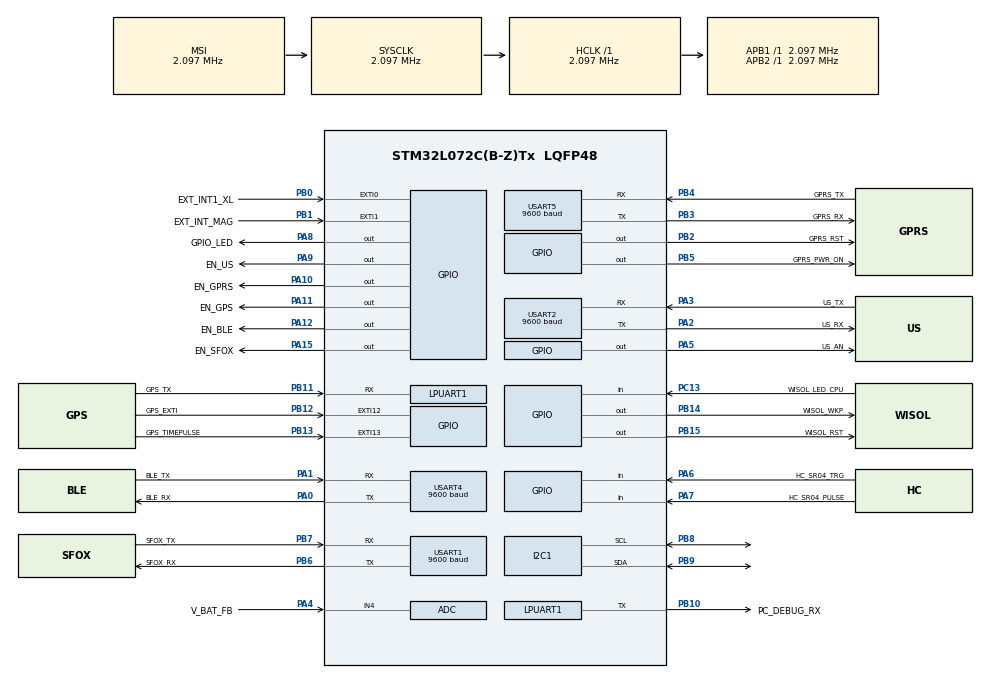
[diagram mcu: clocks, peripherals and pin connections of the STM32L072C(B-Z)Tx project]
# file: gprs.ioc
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Dma.ADC.0.Direction=DMA_PERIPH_TO_MEMORY
Dma.ADC.0.Instance=DMA1_Channel1
Dma.ADC.0.MemDataAlignment=DMA_MDATAALIGN_WORD
Dma.ADC.0.MemInc=DMA_MINC_ENABLE
Dma.ADC.0.Mode=DMA_CIRCULAR
Dma.ADC.0.PeriphDataAlignment=DMA_PDATAALIGN_HALFWORD
Dma.ADC.0.PeriphInc=DMA_PINC_DISABLE
Dma.ADC.0.Priority=DMA_PRIORITY_LOW
Dma.Request0=ADC
LPUART1.BaudRate=9600
LPUART1.WordLength=UART_WORDLENGTH_8B
Mcu.Family=STM32L0
Mcu.Name=STM32L072C(B-Z)Tx
Mcu.Package=LQFP48
NVIC.ADC1_COMP_IRQn=true\:0\:0\:false\:false\:true\:true\:true
NVIC.DMA1_Channel1_IRQn=true\:0\:0\:false\:false\:true\:false\:true
NVIC.EXTI0_1_IRQn=true\:0\:0\:false\:false\:true\:true\:true
NVIC.EXTI4_15_IRQn=true\:0\:0\:false\:false\:true\:true\:true
NVIC.RCC_CRS_IRQn=true\:0\:0\:false\:false\:true\:true\:false
NVIC.RNG_LPUART1_IRQn=true\:0\:0\:false\:false\:true\:true\:true
NVIC.RTC_IRQn=true\:0\:0\:false\:false\:true\:true\:true
NVIC.USART1_IRQn=true\:0\:0\:false\:false\:true\:true\:true
NVIC.USART2_IRQn=true\:0\:0\:false\:false\:true\:true\:true
NVIC.USART4_5_IRQn=true\:0\:0\:false\:false\:true\:true\:true
PA0.GPIO_Label=BLE_RX
PA0.Mode=Asynchronous
PA0.Signal=USART4_TX
PA1.GPIO_Label=BLE_TX
PA1.Mode=Asynchronous
PA1.Signal=USART4_RX
PA10.GPIO_Label=EN_GPRS
PA10.Signal=GPIO_Output
PA11.GPIO_Label=EN_GPS
PA11.Signal=GPIO_Output
PA12.GPIO_Label=EN_BLE
PA12.Signal=GPIO_Output
PA13.Mode=Serial_Wire
PA13.Signal=SYS_SWDIO
PA14.Mode=Serial_Wire
PA14.Signal=SYS_SWCLK
PA15.GPIO_Label=EN_SFOX
PA15.Signal=GPIO_Output
PA2.GPIO_Label=US_RX
PA2.Mode=Asynchronous
PA2.Signal=USART2_TX
PA3.GPIO_Label=US_TX
PA3.Mode=Asynchronous
PA3.Signal=USART2_RX
PA4.GPIO_Label=V_BAT_FB
PA4.Mode=IN4
PA4.Signal=ADC_IN4
PA5.GPIO_Label=US_AN
PA5.GPIO_PuPd=GPIO_NOPULL
PA5.GPIO_Speed=GPIO_SPEED_FREQ_VERY_HIGH
PA5.PinState=GPIO_PIN_SET
PA5.Signal=GPIO_Output
PA6.GPIO_Label=HC_SR04_TRG
PA6.Signal=GPIO_Input
PA7.GPIO_Label=HC_SR04_PULSE
PA7.Signal=GPIO_Input
PA8.GPIO_Label=GPIO_LED
PA8.GPIO_PuPd=GPIO_PULLDOWN
PA8.GPIO_Speed=GPIO_SPEED_FREQ_HIGH
PA8.Signal=GPIO_Output
PA9.GPIO_Label=EN_US
PA9.Signal=GPIO_Output
PB0.GPIO_Label=EXT_INT1_XL
PB0.Signal=GPXTI0
PB1.GPIO_Label=EXT_INT_MAG
PB1.Signal=GPXTI1
PB10.GPIO_Label=PC_DEBUG_RX
PB10.Mode=Asynchronous
PB10.Signal=LPUART1_TX
PB11.GPIO_Label=GPS_TX
PB11.Mode=Asynchronous
PB11.Signal=LPUART1_RX
PB12.GPIO_Label=GPS_EXTI
PB12.Signal=GPXTI12
PB13.GPIO_Label=GPS_TIMEPULSE
PB13.Signal=GPXTI13
PB14.GPIO_Label=WISOL_WKP
PB14.PinState=GPIO_PIN_SET
PB14.Signal=GPIO_Output
PB15.GPIO_Label=WISOL_RST
PB15.PinState=GPIO_PIN_SET
PB15.Signal=GPIO_Output
PB2.GPIO_Label=GPRS_RST
PB2.GPIO_ModeDefaultOutputPP=GPIO_MODE_OUTPUT_OD
PB2.GPIO_PuPd=GPIO_PULLUP
PB2.PinState=GPIO_PIN_SET
PB2.Signal=GPIO_Output
PB3.GPIO_Label=GPRS_RX
PB3.Mode=Asynchronous
PB3.Signal=USART5_TX
PB4.GPIO_Label=GPRS_TX
PB4.Mode=Asynchronous
PB4.Signal=USART5_RX
PB5.GPIO_Label=GPRS_PWR_ON
PB5.Signal=GPIO_Output
PB6.GPIO_Label=SFOX_RX
PB6.Mode=Asynchronous
PB6.Signal=USART1_TX
PB7.GPIO_Label=SFOX_TX
PB7.Mode=Asynchronous
PB7.Signal=USART1_RX
PB8.Mode=I2C
PB8.Signal=I2C1_SCL
PB9.Mode=I2C
PB9.Signal=I2C1_SDA
PC13.GPIO_Label=WISOL_LED_CPU
PC13.Signal=GPIO_Input
ProjectManager.HeapSize=0x200
ProjectManager.StackSize=0x400
ProjectManager.TargetToolchain=TrueSTUDIO
RCC.ADCFreq_Value=4000000
RCC.AHBFreq_Value=2097000
RCC.APB1Freq_Value=2097000
RCC.APB1TimFreq_Value=2097000
RCC.APB2Freq_Value=2097000
RCC.APB2TimFreq_Value=2097000
RCC.HCLKFreq_Value=2097000
RCC.HSE_Timout=1000
RCC.HSE_VALUE=8000000
RCC.HSI16_VALUE=16000000
RCC.HSI48_VALUE=48000000
RCC.HSIRCDiv=4
RCC.HSI_VALUE=4000000
RCC.INSTRUCTION_CACHE_ENABLE=0
RCC.LSE_VALUE=32768
RCC.MSI_VALUE=2097000
RCC.PLLDIV=RCC_PLLDIV_4
RCC.PLLMUL=RCC_PLLMUL_4
RCC.PREFETCH_ENABLE=1
RCC.SYSCLKFreq_VALUE=2097000
RCC.VCOOutputFreq_Value=16000000
RTC.WakeUpClock-WakeUp=RTC_WAKEUPCLOCK_CK_SPRE_16BITS
RTC.WakeUpCounter-WakeUp=1
USART1.BaudRate=9600
USART1.VirtualMode-Asynchronous=VM_ASYNC
USART2.BaudRate=9600
USART2.VirtualMode-Asynchronous=VM_ASYNC
USART4.BaudRate=9600
USART4.VirtualMode-Asynchronous=VM_ASYNC
USART5.BaudRate=9600
USART5.VirtualMode-Asynchronous=VM_ASYNC
VP_ADC_TempSens_Input.Mode=IN-TempSens
VP_RTC_VS_RTC_Activate.Mode=RTC_Enabled
VP_RTC_VS_RTC_WakeUp_intern.Mode=WakeUp
board=custom

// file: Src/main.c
/* USER CODE BEGIN Header */
/**
 ******************************************************************************
 * @file           : main.c
 * @brief          : Main program body
 * @by oscar machado de souza
 * @init - 09/03/2020
 * @project - wizebox
 * @company - Wize Company LTDA
 * @Hardware version - 3.0 (by Bruno Fernandes)
 ******************************************************************************
 * @attention
 *
 * <h2><center>&copy; Copyright (c) 2020 STMicroelectronics.
 * All rights reserved.</center></h2>
 *
 * This software component is licensed by ST under BSD 3-Clause license,
 * the "License"; You may not use this file except in compliance with the
 * License. You may obtain a copy of the License at:
 *                        opensource.org/licenses/BSD-3-Clause
 *
 ******************************************************************************
 ******************************************************************************
 ******************************************************************************
 ******************************************************************************
 ******************************************************************************
 oVersion - 1.0.0	- 09/03/2020 - sigfox enable and work (just init transmission) (test ok).
 oVersion - 1.0.1 	- 10/03/2020 - encoder fix bug.
 oVersion - 1.1.0    - 11/03/2020 - Battery and internal temperature adc read (test ok).
 oVersion - 1.2.0	- 11/03/2020 - LSM303AH library implementation (test ok).
 oVersion - 1.3.0	- 11/02/2020 - GPS implementation (test ok).
 oVersion - 1.3.1	- 12/02/2020 - GPS code optimization.
 oVersion - 1.4.0	- 16/03/2020 - SEN031x implementation (test ok).
 oVersion - 1.5.0	- 16/03/2020 - sensors library implementation - get all sensors values.
 oVersion - 1.6.0	- 16/03/2020 - program library implementation - looping function.
 oVersion - 1.7.0	- 17/03/2020 - Sigfox mensagens imlementation - uplink and downlink frame.
 oVersion - 1.8.0	- 17/03/2020 -
 */
/* USER CODE END Header */

#include "main.h"

ADC_HandleTypeDef hadc;
DMA_HandleTypeDef hdma_adc;

I2C_HandleTypeDef hi2c1;

UART_HandleTypeDef hlpuart1;
UART_HandleTypeDef huart1;
UART_HandleTypeDef huart2;
UART_HandleTypeDef huart4;
UART_HandleTypeDef huart5;

RTC_HandleTypeDef hrtc;

void SystemClock_Config(void);
static void MX_GPIO_Init(void);
static void MX_DMA_Init(void);
static void MX_ADC_Init(void);
static void MX_I2C1_Init(void);
static void MX_LPUART1_UART_Init(void);
static void MX_USART1_UART_Init(void);
static void MX_USART2_UART_Init(void);
static void MX_USART4_UART_Init(void);
static void MX_USART5_UART_Init(void);
static void MX_RTC_Init(void);
/* USER CODE BEGIN PFP */
float get_temp(uint32_t variable);

/* USER CODE END PFP */

int main(void) {

	/* MCU Configuration--------------------------------------------------------*/

	/* Reset of all peripherals, Initializes the Flash interface and the Systick. */
	HAL_Init();

	/* Configure the system clock */
	SystemClock_Config();

	/* Initialize all configured peripherals */
	MX_GPIO_Init();
	MX_DMA_Init();
	MX_ADC_Init();
	MX_I2C1_Init();
	MX_LPUART1_UART_Init();
	MX_USART1_UART_Init();
	MX_USART2_UART_Init();
	MX_USART4_UART_Init();
	MX_USART5_UART_Init();
	MX_RTC_Init();
	/* USER CODE BEGIN 2 */
	//fn_start_program();

	/* USER CODE END 2 */

	/* Infinite loop */
	while (1) {

		/* USER CODE BEGIN 3 */
		HAL_GPIO_WritePin(EN_GPRS_GPIO_Port, EN_GPRS_Pin, 0);

		HAL_GPIO_WritePin(GPRS_RST_GPIO_Port, GPRS_RST_Pin, 0);

		HAL_GPIO_WritePin(GPRS_PWR_ON_GPIO_Port, GPRS_PWR_ON_Pin, 0);
		HAL_Delay(1000);

		fn_init_gprs();

		HAL_GPIO_WritePin(EN_GPRS_GPIO_Port, EN_GPRS_Pin, 0);

		HAL_GPIO_WritePin(GPRS_RST_GPIO_Port, GPRS_RST_Pin, 0);

		HAL_GPIO_WritePin(GPRS_PWR_ON_GPIO_Port, GPRS_PWR_ON_Pin, 0);
		HAL_Delay(60000);
	}
	/* USER CODE END 3 */
}

void SystemClock_Config(void) {
	RCC_OscInitTypeDef RCC_OscInitStruct = { 0 };
	RCC_ClkInitTypeDef RCC_ClkInitStruct = { 0 };
	RCC_PeriphCLKInitTypeDef PeriphClkInit = { 0 };

	/** Configure the main internal regulator output voltage
	 */
	__HAL_PWR_VOLTAGESCALING_CONFIG(PWR_REGULATOR_VOLTAGE_SCALE1);
	/** Initializes the CPU, AHB and APB busses clocks
	 */
	RCC_OscInitStruct.OscillatorType = RCC_OSCILLATORTYPE_LSI
			| RCC_OSCILLATORTYPE_MSI;
	RCC_OscInitStruct.LSIState = RCC_LSI_ON;
	RCC_OscInitStruct.MSIState = RCC_MSI_ON;
	RCC_OscInitStruct.MSICalibrationValue = 0;
	RCC_OscInitStruct.MSIClockRange = RCC_MSIRANGE_5;
	RCC_OscInitStruct.PLL.PLLState = RCC_PLL_NONE;
	if (HAL_RCC_OscConfig(&RCC_OscInitStruct) != HAL_OK) {
		Error_Handler();
	}
	/** Initializes the CPU, AHB and APB busses clocks
	 */
	RCC_ClkInitStruct.ClockType = RCC_CLOCKTYPE_HCLK | RCC_CLOCKTYPE_SYSCLK
			| RCC_CLOCKTYPE_PCLK1 | RCC_CLOCKTYPE_PCLK2;
	RCC_ClkInitStruct.SYSCLKSource = RCC_SYSCLKSOURCE_MSI;
	RCC_ClkInitStruct.AHBCLKDivider = RCC_SYSCLK_DIV1;
	RCC_ClkInitStruct.APB1CLKDivider = RCC_HCLK_DIV1;
	RCC_ClkInitStruct.APB2CLKDivider = RCC_HCLK_DIV1;

	if (HAL_RCC_ClockConfig(&RCC_ClkInitStruct, FLASH_LATENCY_0) != HAL_OK) {
		Error_Handler();
	}
	PeriphClkInit.PeriphClockSelection = RCC_PERIPHCLK_USART1
			| RCC_PERIPHCLK_USART2 | RCC_PERIPHCLK_LPUART1 | RCC_PERIPHCLK_I2C1
			| RCC_PERIPHCLK_RTC;
	PeriphClkInit.Usart1ClockSelection = RCC_USART1CLKSOURCE_PCLK2;
	PeriphClkInit.Usart2ClockSelection = RCC_USART2CLKSOURCE_PCLK1;
	PeriphClkInit.Lpuart1ClockSelection = RCC_LPUART1CLKSOURCE_PCLK1;
	PeriphClkInit.I2c1ClockSelection = RCC_I2C1CLKSOURCE_PCLK1;
	PeriphClkInit.RTCClockSelection = RCC_RTCCLKSOURCE_LSI;
	if (HAL_RCCEx_PeriphCLKConfig(&PeriphClkInit) != HAL_OK) {
		Error_Handler();
	}
}

static void MX_ADC_Init(void) {

	ADC_ChannelConfTypeDef sConfig = { 0 };

	/** Configure the global features of the ADC (Clock, Resolution, Data Alignment and number of conversion)
	 */
	hadc.Instance = ADC1;
	hadc.Init.OversamplingMode = DISABLE;
	hadc.Init.ClockPrescaler = ADC_CLOCK_SYNC_PCLK_DIV1;
	hadc.Init.Resolution = ADC_RESOLUTION_12B;
	hadc.Init.SamplingTime = ADC_SAMPLETIME_1CYCLE_5;
	hadc.Init.ScanConvMode = ADC_SCAN_DIRECTION_FORWARD;
	hadc.Init.DataAlign = ADC_DATAALIGN_RIGHT;
	hadc.Init.ContinuousConvMode = DISABLE;
	hadc.Init.DiscontinuousConvMode = DISABLE;
	hadc.Init.ExternalTrigConvEdge = ADC_EXTERNALTRIGCONVEDGE_NONE;
	hadc.Init.ExternalTrigConv = ADC_SOFTWARE_START;
	hadc.Init.DMAContinuousRequests = DISABLE;
	hadc.Init.EOCSelection = ADC_EOC_SINGLE_CONV;
	hadc.Init.Overrun = ADC_OVR_DATA_PRESERVED;
	hadc.Init.LowPowerAutoWait = DISABLE;
	hadc.Init.LowPowerFrequencyMode = DISABLE;
	hadc.Init.LowPowerAutoPowerOff = DISABLE;
	if (HAL_ADC_Init(&hadc) != HAL_OK) {
		Error_Handler();
	}
	/** Configure for the selected ADC regular channel to be converted.
	 */
	sConfig.Channel = ADC_CHANNEL_4;
	sConfig.Rank = ADC_RANK_CHANNEL_NUMBER;
	if (HAL_ADC_ConfigChannel(&hadc, &sConfig) != HAL_OK) {
		Error_Handler();
	}
	/** Configure for the selected ADC regular channel to be converted.
	 */
	sConfig.Channel = ADC_CHANNEL_TEMPSENSOR;
	if (HAL_ADC_ConfigChannel(&hadc, &sConfig) != HAL_OK) {
		Error_Handler();
	}
	/* USER CODE BEGIN ADC_Init 2 */
	HAL_ADC_Start_DMA(&hadc, value, 3);
	/* USER CODE END ADC_Init 2 */

}

static void MX_I2C1_Init(void) {

	hi2c1.Instance = I2C1;
	hi2c1.Init.Timing = 0x00000708;
	hi2c1.Init.OwnAddress1 = 0;
	hi2c1.Init.AddressingMode = I2C_ADDRESSINGMODE_7BIT;
	hi2c1.Init.DualAddressMode = I2C_DUALADDRESS_DISABLE;
	hi2c1.Init.OwnAddress2 = 0;
	hi2c1.Init.OwnAddress2Masks = I2C_OA2_NOMASK;
	hi2c1.Init.GeneralCallMode = I2C_GENERALCALL_DISABLE;
	hi2c1.Init.NoStretchMode = I2C_NOSTRETCH_DISABLE;
	if (HAL_I2C_Init(&hi2c1) != HAL_OK) {
		Error_Handler();
	}
	/** Configure Analogue filter
	 */
	if (HAL_I2CEx_ConfigAnalogFilter(&hi2c1, I2C_ANALOGFILTER_ENABLE)
			!= HAL_OK) {
		Error_Handler();
	}
	/** Configure Digital filter
	 */
	if (HAL_I2CEx_ConfigDigitalFilter(&hi2c1, 0) != HAL_OK) {
		Error_Handler();
	}

}

static void MX_LPUART1_UART_Init(void) {

	hlpuart1.Instance = LPUART1;
	hlpuart1.Init.BaudRate = 9600;
	hlpuart1.Init.WordLength = UART_WORDLENGTH_8B;
	hlpuart1.Init.StopBits = UART_STOPBITS_1;
	hlpuart1.Init.Parity = UART_PARITY_NONE;
	hlpuart1.Init.Mode = UART_MODE_TX_RX;
	hlpuart1.Init.HwFlowCtl = UART_HWCONTROL_NONE;
	hlpuart1.Init.OneBitSampling = UART_ONE_BIT_SAMPLE_DISABLE;
	hlpuart1.AdvancedInit.AdvFeatureInit = UART_ADVFEATURE_NO_INIT;
	if (HAL_UART_Init(&hlpuart1) != HAL_OK) {
		Error_Handler();
	}

}

static void MX_USART1_UART_Init(void) {

	huart1.Instance = USART1;
	huart1.Init.BaudRate = 9600;
	huart1.Init.WordLength = UART_WORDLENGTH_8B;
	huart1.Init.StopBits = UART_STOPBITS_1;
	huart1.Init.Parity = UART_PARITY_NONE;
	huart1.Init.Mode = UART_MODE_TX_RX;
	huart1.Init.HwFlowCtl = UART_HWCONTROL_NONE;
	huart1.Init.OverSampling = UART_OVERSAMPLING_16;
	huart1.Init.OneBitSampling = UART_ONE_BIT_SAMPLE_DISABLE;
	huart1.AdvancedInit.AdvFeatureInit = UART_ADVFEATURE_NO_INIT;
	if (HAL_UART_Init(&huart1) != HAL_OK) {
		Error_Handler();
	}

}

static void MX_USART2_UART_Init(void) {

	huart2.Instance = USART2;
	huart2.Init.BaudRate = 9600;
	huart2.Init.WordLength = UART_WORDLENGTH_8B;
	huart2.Init.StopBits = UART_STOPBITS_1;
	huart2.Init.Parity = UART_PARITY_NONE;
	huart2.Init.Mode = UART_MODE_TX_RX;
	huart2.Init.HwFlowCtl = UART_HWCONTROL_NONE;
	huart2.Init.OverSampling = UART_OVERSAMPLING_16;
	huart2.Init.OneBitSampling = UART_ONE_BIT_SAMPLE_DISABLE;
	huart2.AdvancedInit.AdvFeatureInit = UART_ADVFEATURE_NO_INIT;
	if (HAL_UART_Init(&huart2) != HAL_OK) {
		Error_Handler();
	}

}

static void MX_USART4_UART_Init(void) {

	huart4.Instance = USART4;
	huart4.Init.BaudRate = 9600;
	huart4.Init.WordLength = UART_WORDLENGTH_8B;
	huart4.Init.StopBits = UART_STOPBITS_1;
	huart4.Init.Parity = UART_PARITY_NONE;
	huart4.Init.Mode = UART_MODE_TX_RX;
	huart4.Init.HwFlowCtl = UART_HWCONTROL_NONE;
	huart4.Init.OverSampling = UART_OVERSAMPLING_16;
	huart4.Init.OneBitSampling = UART_ONE_BIT_SAMPLE_DISABLE;
	huart4.AdvancedInit.AdvFeatureInit = UART_ADVFEATURE_NO_INIT;
	if (HAL_UART_Init(&huart4) != HAL_OK) {
		Error_Handler();
	}

}

static void MX_USART5_UART_Init(void) {

	huart5.Instance = USART5;
	huart5.Init.BaudRate = 9600;
	huart5.Init.WordLength = UART_WORDLENGTH_8B;
	huart5.Init.StopBits = UART_STOPBITS_1;
	huart5.Init.Parity = UART_PARITY_NONE;
	huart5.Init.Mode = UART_MODE_TX_RX;
	huart5.Init.HwFlowCtl = UART_HWCONTROL_NONE;
	huart5.Init.OverSampling = UART_OVERSAMPLING_16;
	huart5.Init.OneBitSampling = UART_ONE_BIT_SAMPLE_DISABLE;
	huart5.AdvancedInit.AdvFeatureInit = UART_ADVFEATURE_NO_INIT;
	if (HAL_UART_Init(&huart5) != HAL_OK) {
		Error_Handler();
	}

}

static void MX_RTC_Init(void) {

	/** Initialize RTC Only
	 */
	hrtc.Instance = RTC;
	hrtc.Init.HourFormat = RTC_HOURFORMAT_24;
	hrtc.Init.AsynchPrediv = 127;
	hrtc.Init.SynchPrediv = 255;
	hrtc.Init.OutPut = RTC_OUTPUT_DISABLE;
	hrtc.Init.OutPutRemap = RTC_OUTPUT_REMAP_NONE;
	hrtc.Init.OutPutPolarity = RTC_OUTPUT_POLARITY_HIGH;
	hrtc.Init.OutPutType = RTC_OUTPUT_TYPE_OPENDRAIN;
	if (HAL_RTC_Init(&hrtc) != HAL_OK) {
		Error_Handler();
	}
	/** Enable the WakeUp
	 */

}

static void MX_DMA_Init(void) {

	/* DMA controller clock enable */
	__HAL_RCC_DMA1_CLK_ENABLE()
	;

	/* DMA interrupt init */
	/* DMA1_Channel1_IRQn interrupt configuration */
	HAL_NVIC_SetPriority(DMA1_Channel1_IRQn, 0, 0);
	HAL_NVIC_EnableIRQ(DMA1_Channel1_IRQn);

}

static void MX_GPIO_Init(void) {
	GPIO_InitTypeDef GPIO_InitStruct = { 0 };

	/* GPIO Ports Clock Enable */
	__HAL_RCC_GPIOC_CLK_ENABLE()
	;
	__HAL_RCC_GPIOH_CLK_ENABLE()
	;
	__HAL_RCC_GPIOA_CLK_ENABLE()
	;
	__HAL_RCC_GPIOB_CLK_ENABLE()
	;

	/*Configure GPIO pin Output Level */
	HAL_GPIO_WritePin(US_AN_GPIO_Port, US_AN_Pin, GPIO_PIN_SET);

	/*Configure GPIO pin Output Level */
	HAL_GPIO_WritePin(GPIOB, GPRS_RST_Pin | WISOL_WKP_Pin | WISOL_RST_Pin,
			GPIO_PIN_SET);

	/*Configure GPIO pin Output Level */
	HAL_GPIO_WritePin(GPIOA,
			GPIO_LED_Pin | EN_US_Pin | EN_GPRS_Pin | EN_GPS_Pin | EN_BLE_Pin
					| EN_SFOX_Pin, GPIO_PIN_RESET);

	/*Configure GPIO pin Output Level */
	HAL_GPIO_WritePin(GPRS_PWR_ON_GPIO_Port, GPRS_PWR_ON_Pin, GPIO_PIN_RESET);

	/*Configure GPIO pin : WISOL_LED_CPU_Pin */
	GPIO_InitStruct.Pin = WISOL_LED_CPU_Pin;
	GPIO_InitStruct.Mode = GPIO_MODE_INPUT;
	GPIO_InitStruct.Pull = GPIO_NOPULL;
	HAL_GPIO_Init(WISOL_LED_CPU_GPIO_Port, &GPIO_InitStruct);

	/*Configure GPIO pins : PC14 PC15 */
	GPIO_InitStruct.Pin = GPIO_PIN_14 | GPIO_PIN_15;
	GPIO_InitStruct.Mode = GPIO_MODE_ANALOG;
	GPIO_InitStruct.Pull = GPIO_NOPULL;
	HAL_GPIO_Init(GPIOC, &GPIO_InitStruct);

	/*Configure GPIO pins : PH0 PH1 */
	GPIO_InitStruct.Pin = GPIO_PIN_0 | GPIO_PIN_1;
	GPIO_InitStruct.Mode = GPIO_MODE_ANALOG;
	GPIO_InitStruct.Pull = GPIO_NOPULL;
	HAL_GPIO_Init(GPIOH, &GPIO_InitStruct);

	/*Configure GPIO pin : US_AN_Pin */
	GPIO_InitStruct.Pin = US_AN_Pin;
	GPIO_InitStruct.Mode = GPIO_MODE_OUTPUT_PP;
	GPIO_InitStruct.Pull = GPIO_NOPULL;
	GPIO_InitStruct.Speed = GPIO_SPEED_FREQ_VERY_HIGH;
	HAL_GPIO_Init(US_AN_GPIO_Port, &GPIO_InitStruct);

	/*Configure GPIO pins : HC_SR04_TRG_Pin HC_SR04_PULSE_Pin */
	GPIO_InitStruct.Pin = HC_SR04_TRG_Pin | HC_SR04_PULSE_Pin;
	GPIO_InitStruct.Mode = GPIO_MODE_INPUT;
	GPIO_InitStruct.Pull = GPIO_NOPULL;
	HAL_GPIO_Init(GPIOA, &GPIO_InitStruct);

	/*Configure GPIO pins : EXT_INT1_XL_Pin EXT_INT_MAG_Pin GPS_EXTI_Pin GPS_TIMEPULSE_Pin */
	GPIO_InitStruct.Pin = EXT_INT1_XL_Pin | EXT_INT_MAG_Pin | GPS_EXTI_Pin
			| GPS_TIMEPULSE_Pin;
	GPIO_InitStruct.Mode = GPIO_MODE_IT_RISING;
	GPIO_InitStruct.Pull = GPIO_NOPULL;
	HAL_GPIO_Init(GPIOB, &GPIO_InitStruct);

	/*Configure GPIO pin : GPRS_RST_Pin */
	GPIO_InitStruct.Pin = GPRS_RST_Pin;
	GPIO_InitStruct.Mode = GPIO_MODE_OUTPUT_OD;
	GPIO_InitStruct.Pull = GPIO_PULLUP;
	GPIO_InitStruct.Speed = GPIO_SPEED_FREQ_LOW;
	HAL_GPIO_Init(GPRS_RST_GPIO_Port, &GPIO_InitStruct);

	/*Configure GPIO pins : WISOL_WKP_Pin WISOL_RST_Pin GPRS_PWR_ON_Pin */
	GPIO_InitStruct.Pin = WISOL_WKP_Pin | WISOL_RST_Pin | GPRS_PWR_ON_Pin;
	GPIO_InitStruct.Mode = GPIO_MODE_OUTPUT_PP;
	GPIO_InitStruct.Pull = GPIO_NOPULL;
	GPIO_InitStruct.Speed = GPIO_SPEED_FREQ_LOW;
	HAL_GPIO_Init(GPIOB, &GPIO_InitStruct);

	/*Configure GPIO pin : GPIO_LED_Pin */
	GPIO_InitStruct.Pin = GPIO_LED_Pin;
	GPIO_InitStruct.Mode = GPIO_MODE_OUTPUT_PP;
	GPIO_InitStruct.Pull = GPIO_PULLDOWN;
	GPIO_InitStruct.Speed = GPIO_SPEED_FREQ_HIGH;
	HAL_GPIO_Init(GPIO_LED_GPIO_Port, &GPIO_InitStruct);

	/*Configure GPIO pins : EN_US_Pin EN_GPRS_Pin EN_GPS_Pin EN_BLE_Pin
	 EN_SFOX_Pin */
	GPIO_InitStruct.Pin = EN_US_Pin | EN_GPRS_Pin | EN_GPS_Pin | EN_BLE_Pin
			| EN_SFOX_Pin;
	GPIO_InitStruct.Mode = GPIO_MODE_OUTPUT_PP;
	GPIO_InitStruct.Pull = GPIO_NOPULL;
	GPIO_InitStruct.Speed = GPIO_SPEED_FREQ_LOW;
	HAL_GPIO_Init(GPIOA, &GPIO_InitStruct);

	/* EXTI interrupt init*/
	HAL_NVIC_SetPriority(EXTI0_1_IRQn, 0, 0);
	HAL_NVIC_EnableIRQ(EXTI0_1_IRQn);

	HAL_NVIC_SetPriority(EXTI4_15_IRQn, 0, 0);
	HAL_NVIC_EnableIRQ(EXTI4_15_IRQn);

}

/* USER CODE BEGIN 4 */

void blink(uint8_t times) {
	for (int var = 0; var < times; ++var) {
		LED_ON
		HAL_Delay(25);
		LED_OFF
		HAL_Delay(25);
	}

}

void fn_fprint(char *data) {
	int tamanho = strlen(data);
	char new_command[tamanho];
	strcpy(new_command, data);
	char new_com[1]; // (uint8_t*)new_command;
	for (int var = 0; var < tamanho; ++var) {
		new_com[0] = new_command[var];
		HAL_UART_Transmit(&hlpuart1, (uint8_t*) new_com, 1, 10);
	}
}

void HAL_UART_TxCpltCallback(UART_HandleTypeDef *huart) {
	UartReady = SET;
}

float get_temp(uint32_t variable)   // function to read temp from the value
{
	return (((V25 - VSENSE * variable) / Avg_Slope) + 25);
}

void fn_get_stm32_temperature() {
	HAL_ADC_Start_DMA(&hadc, value, 3);
	st_stm_adc_variables.temperature = get_temp(value[2]) / 10;
}

void fn_get_stm32_volts() {
	HAL_ADC_Start_DMA(&hadc, value, 3);
	st_stm_adc_variables.battery = value[0];
	st_stm_adc_variables.battery /= 1000;
}

void fn_fprintnumber(int number) {
	char numbuff[] = "\0";
	itoa(number, numbuff, 10);
	fn_fprint(numbuff);
}
/*void HAL_ADC_ConvCpltCallback(ADC_HandleTypeDef* hadc)
 {
 for (int i =0; i<3; i++)
 {
 adc[i] = buffer[i];
 }

 temperature = (((adc[2]*vsense)-.76)/.0025)+25;
 }*/

/* USER CODE END 4 */

void Error_Handler(void) {
}

/************************ (C) COPYRIGHT STMicroelectronics *****END OF FILE****/
